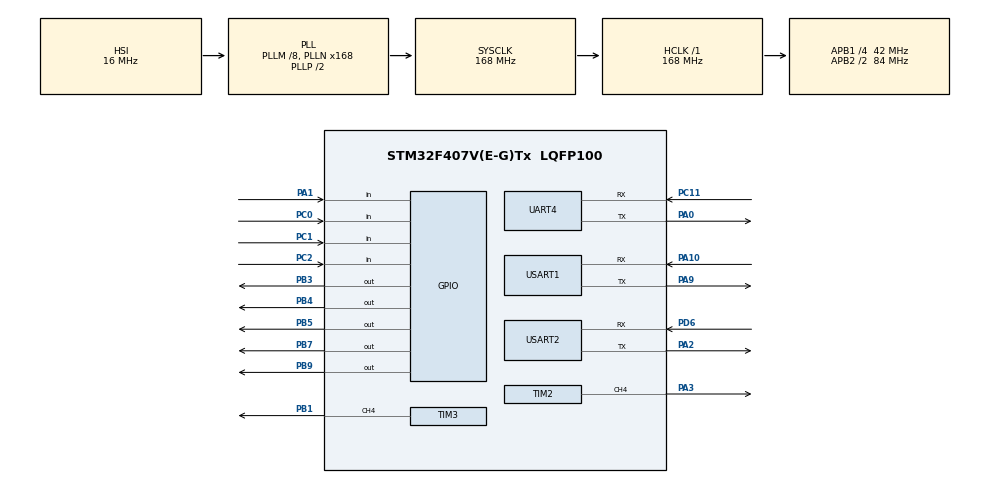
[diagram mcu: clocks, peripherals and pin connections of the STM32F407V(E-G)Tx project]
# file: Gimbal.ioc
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Dma.Request0=USART1_RX
Dma.Request1=USART1_TX
Dma.Request2=USART2_TX
Dma.Request3=USART2_RX
Dma.Request4=UART4_RX
Dma.Request5=UART4_TX
Dma.UART4_RX.4.Direction=DMA_PERIPH_TO_MEMORY
Dma.UART4_RX.4.FIFOMode=DMA_FIFOMODE_DISABLE
Dma.UART4_RX.4.Instance=DMA1_Stream2
Dma.UART4_RX.4.MemDataAlignment=DMA_MDATAALIGN_BYTE
Dma.UART4_RX.4.MemInc=DMA_MINC_ENABLE
Dma.UART4_RX.4.Mode=DMA_NORMAL
Dma.UART4_RX.4.PeriphDataAlignment=DMA_PDATAALIGN_BYTE
Dma.UART4_RX.4.PeriphInc=DMA_PINC_DISABLE
Dma.UART4_RX.4.Priority=DMA_PRIORITY_LOW
Dma.UART4_TX.5.Direction=DMA_MEMORY_TO_PERIPH
Dma.UART4_TX.5.FIFOMode=DMA_FIFOMODE_DISABLE
Dma.UART4_TX.5.Instance=DMA1_Stream4
Dma.UART4_TX.5.MemDataAlignment=DMA_MDATAALIGN_BYTE
Dma.UART4_TX.5.MemInc=DMA_MINC_ENABLE
Dma.UART4_TX.5.Mode=DMA_NORMAL
Dma.UART4_TX.5.PeriphDataAlignment=DMA_PDATAALIGN_BYTE
Dma.UART4_TX.5.PeriphInc=DMA_PINC_DISABLE
Dma.UART4_TX.5.Priority=DMA_PRIORITY_LOW
Dma.USART1_RX.0.Direction=DMA_PERIPH_TO_MEMORY
Dma.USART1_RX.0.FIFOMode=DMA_FIFOMODE_DISABLE
Dma.USART1_RX.0.Instance=DMA2_Stream2
Dma.USART1_RX.0.MemDataAlignment=DMA_MDATAALIGN_BYTE
Dma.USART1_RX.0.MemInc=DMA_MINC_ENABLE
Dma.USART1_RX.0.Mode=DMA_NORMAL
Dma.USART1_RX.0.PeriphDataAlignment=DMA_PDATAALIGN_BYTE
Dma.USART1_RX.0.PeriphInc=DMA_PINC_DISABLE
Dma.USART1_RX.0.Priority=DMA_PRIORITY_LOW
Dma.USART1_TX.1.Direction=DMA_MEMORY_TO_PERIPH
Dma.USART1_TX.1.FIFOMode=DMA_FIFOMODE_DISABLE
Dma.USART1_TX.1.Instance=DMA2_Stream7
Dma.USART1_TX.1.MemDataAlignment=DMA_MDATAALIGN_BYTE
Dma.USART1_TX.1.MemInc=DMA_MINC_ENABLE
Dma.USART1_TX.1.Mode=DMA_NORMAL
Dma.USART1_TX.1.PeriphDataAlignment=DMA_PDATAALIGN_BYTE
Dma.USART1_TX.1.PeriphInc=DMA_PINC_DISABLE
Dma.USART1_TX.1.Priority=DMA_PRIORITY_LOW
Dma.USART2_RX.3.Direction=DMA_PERIPH_TO_MEMORY
Dma.USART2_RX.3.FIFOMode=DMA_FIFOMODE_DISABLE
Dma.USART2_RX.3.Instance=DMA1_Stream5
Dma.USART2_RX.3.MemDataAlignment=DMA_MDATAALIGN_BYTE
Dma.USART2_RX.3.MemInc=DMA_MINC_ENABLE
Dma.USART2_RX.3.Mode=DMA_NORMAL
Dma.USART2_RX.3.PeriphDataAlignment=DMA_PDATAALIGN_BYTE
Dma.USART2_RX.3.PeriphInc=DMA_PINC_DISABLE
Dma.USART2_RX.3.Priority=DMA_PRIORITY_LOW
Dma.USART2_TX.2.Direction=DMA_MEMORY_TO_PERIPH
Dma.USART2_TX.2.FIFOMode=DMA_FIFOMODE_DISABLE
Dma.USART2_TX.2.Instance=DMA1_Stream6
Dma.USART2_TX.2.MemDataAlignment=DMA_MDATAALIGN_BYTE
Dma.USART2_TX.2.MemInc=DMA_MINC_ENABLE
Dma.USART2_TX.2.Mode=DMA_NORMAL
Dma.USART2_TX.2.PeriphDataAlignment=DMA_PDATAALIGN_BYTE
Dma.USART2_TX.2.PeriphInc=DMA_PINC_DISABLE
Dma.USART2_TX.2.Priority=DMA_PRIORITY_LOW
Mcu.Family=STM32F4
Mcu.Name=STM32F407V(E-G)Tx
Mcu.Package=LQFP100
NVIC.DMA1_Stream2_IRQn=true\:0\:0\:false\:false\:true\:false\:true\:true
NVIC.DMA1_Stream4_IRQn=true\:0\:0\:false\:false\:true\:false\:true\:true
NVIC.DMA1_Stream5_IRQn=true\:0\:0\:false\:false\:true\:false\:true\:true
NVIC.DMA1_Stream6_IRQn=true\:0\:0\:false\:false\:true\:false\:true\:true
NVIC.DMA2_Stream2_IRQn=true\:0\:0\:false\:false\:true\:false\:true\:true
NVIC.DMA2_Stream7_IRQn=true\:0\:0\:false\:false\:true\:false\:true\:true
NVIC.PriorityGroup=NVIC_PRIORITYGROUP_4
NVIC.TIM2_IRQn=true\:0\:0\:false\:false\:true\:true\:true\:true
NVIC.TIM3_IRQn=true\:0\:0\:false\:false\:true\:true\:true\:true
NVIC.TIM4_IRQn=true\:15\:0\:false\:false\:true\:false\:true\:true
NVIC.TimeBase=TIM4_IRQn
NVIC.TimeBaseIP=TIM4
NVIC.UART4_IRQn=true\:0\:0\:false\:false\:true\:true\:true\:true
NVIC.USART1_IRQn=true\:0\:0\:false\:false\:true\:true\:true\:true
NVIC.USART2_IRQn=true\:0\:0\:false\:false\:true\:true\:true\:true
PA0-WKUP.Mode=Asynchronous
PA0-WKUP.Signal=UART4_TX
PA1.GPIO_PuPd=GPIO_PULLUP
PA1.Signal=GPIO_Input
PA10.Mode=Asynchronous
PA10.Signal=USART1_RX
PA13.Mode=Serial_Wire
PA13.Signal=SYS_JTMS-SWDIO
PA14.Mode=Serial_Wire
PA14.Signal=SYS_JTCK-SWCLK
PA2.Mode=Asynchronous
PA2.Signal=USART2_TX
PA3.Signal=S_TIM2_CH4
PA9.Mode=Asynchronous
PA9.Signal=USART1_TX
PB1.Signal=S_TIM3_CH4
PB3.GPIO_Speed=GPIO_SPEED_FREQ_HIGH
PB3.PinState=GPIO_PIN_SET
PB3.Signal=GPIO_Output
PB4.GPIO_PuPd=GPIO_PULLDOWN
PB4.Signal=GPIO_Output
PB5.GPIO_Speed=GPIO_SPEED_FREQ_HIGH
PB5.PinState=GPIO_PIN_SET
PB5.Signal=GPIO_Output
PB7.GPIO_Speed=GPIO_SPEED_FREQ_HIGH
PB7.PinState=GPIO_PIN_SET
PB7.Signal=GPIO_Output
PB9.GPIO_ModeDefaultOutputPP=GPIO_MODE_OUTPUT_PP
PB9.GPIO_Speed=GPIO_SPEED_FREQ_HIGH
PB9.PinState=GPIO_PIN_SET
PB9.Signal=GPIO_Output
PC0.GPIO_PuPd=GPIO_PULLUP
PC0.Signal=GPIO_Input
PC1.GPIO_PuPd=GPIO_PULLUP
PC1.Signal=GPIO_Input
PC11.Mode=Asynchronous
PC11.Signal=UART4_RX
PC2.GPIO_PuPd=GPIO_PULLUP
PC2.Signal=GPIO_Input
PD6.Mode=Asynchronous
PD6.Signal=USART2_RX
PH0-OSC_IN.Mode=HSE-External-Oscillator
PH0-OSC_IN.Signal=RCC_OSC_IN
PH1-OSC_OUT.Mode=HSE-External-Oscillator
PH1-OSC_OUT.Signal=RCC_OSC_OUT
ProjectManager.HeapSize=0x200
ProjectManager.StackSize=0x400
ProjectManager.TargetToolchain=MDK-ARM V5.32
RCC.48MHZClocksFreq_Value=84000000
RCC.AHBFreq_Value=168000000
RCC.APB1CLKDivider=RCC_HCLK_DIV4
RCC.APB1Freq_Value=42000000
RCC.APB1TimFreq_Value=84000000
RCC.APB2CLKDivider=RCC_HCLK_DIV2
RCC.APB2Freq_Value=84000000
RCC.APB2TimFreq_Value=168000000
RCC.CortexFreq_Value=168000000
RCC.HCLKFreq_Value=168000000
RCC.HSE_VALUE=25000000
RCC.HSI_VALUE=16000000
RCC.LSE_VALUE=32768
RCC.PLLM=8
RCC.PLLN=168
RCC.SYSCLKFreq_VALUE=168000000
RCC.SYSCLKSource=RCC_SYSCLKSOURCE_PLLCLK
RCC.VCOOutputFreq_Value=336000000
SH.S_TIM2_CH4.0=TIM2_CH4,PWM Generation4 CH4
SH.S_TIM3_CH4.0=TIM3_CH4,PWM Generation4 CH4
TIM2.Channel-PWM\ Generation4\ CH4=TIM_CHANNEL_4
TIM2.Period=999
TIM2.Prescaler=167
TIM2.Pulse-PWM\ Generation4\ CH4=500
TIM3.Channel-PWM\ Generation4\ CH4=TIM_CHANNEL_4
TIM3.Period=999
TIM3.Prescaler=167
TIM3.Pulse-PWM\ Generation4\ CH4=500
UART4.VirtualMode=Asynchronous
USART1.VirtualMode=VM_ASYNC
USART2.VirtualMode=VM_ASYNC
VP_SYS_VS_tim4.Mode=TIM4
VP_TIM2_VS_ClockSourceINT.Mode=Internal
VP_TIM3_VS_ClockSourceINT.Mode=Internal
board=custom

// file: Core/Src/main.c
/* USER CODE BEGIN Header */
/**
  ******************************************************************************
  * @file           : main.c
  * @brief          : Main program body
  ******************************************************************************
  * @attention
  *
  * Copyright (c) 2025 STMicroelectronics.
  * All rights reserved.
  *
  * This software is licensed under terms that can be found in the LICENSE file
  * in the root directory of this software component.
  * If no LICENSE file comes with this software, it is provided AS-IS.
  *
  ******************************************************************************
  */
/* USER CODE END Header */
#include "main.h"

/* USER CODE BEGIN Includes */
#include "global.h"
#include "FreeRTOSConfig.h"
#include "FreeRTOS.h"
#include "task.h"
#include "semphr.h"
#include <stdio.h>
#include "math.h"
#include <stdarg.h>
#include <string.h>
#include "filter.h"
#include "servo.h"
#include "oled.h"
#include "usart.h"
#include "mpu6050.h"
#include "imu.h"
#include "motor.h"
#include "pid.h"
#include "mutex_lock_and_message_queue.h"
#include "data_protocol.h"
#include "eletube.h"
#include "timer.h"
#include <stdbool.h>
#include "keys.h"
#include "draw.h"

/* USER CODE END Includes */

TIM_HandleTypeDef htim2;
TIM_HandleTypeDef htim3;

UART_HandleTypeDef huart4;
UART_HandleTypeDef huart1;
UART_HandleTypeDef huart2;
DMA_HandleTypeDef hdma_uart4_rx;
DMA_HandleTypeDef hdma_uart4_tx;
DMA_HandleTypeDef hdma_usart1_rx;
DMA_HandleTypeDef hdma_usart1_tx;
DMA_HandleTypeDef hdma_usart2_tx;
DMA_HandleTypeDef hdma_usart2_rx;

/* USER CODE BEGIN PV */
CustomMutex_t robot_state_mutex = {
    .locked = 0,
    .owner = NULL,
    .name = "robot_state_mutex",
    .lock_count = 0
};

// 定义导航指令消息队列（缓冲区大小为5个消息）
NavCmd_t nav_queue_buffer[NAV_QUEUE_SIZE];  // 消息缓冲区
CustomQueue_t nav_cmd_queue;                // 导航指令队列实例
/* USER CODE END PV */

void SystemClock_Config(void);
static void MX_GPIO_Init(void);
static void MX_DMA_Init(void);
static void MX_TIM2_Init(void);
static void MX_TIM3_Init(void);
static void MX_USART1_UART_Init(void);
static void MX_USART2_UART_Init(void);
static void MX_UART4_Init(void);

/* USER CODE BEGIN 0 */
TaskHandle_t  led1_TaskHandle_t;
TaskHandle_t  led2_TaskHandle_t;
TaskHandle_t  filter_TaskHandle_t;
TaskHandle_t  servo_TaskHandle_t;
TaskHandle_t  oled_TaskHandle_t;
TaskHandle_t  usart_TaskHandle_t;
TaskHandle_t  mpu6050_TaskHandle_t;
TaskHandle_t  motor_TaskHandle_t;
TaskHandle_t  decision_TaskHandle_t;
TaskHandle_t  state_update_TaskHandle_t;
TaskHandle_t  openmv_TaskHandle_t;
TaskHandle_t  eletube_TaskHandle_t;
TaskHandle_t  debug_send_TaskHandle_t;
TaskHandle_t  draw_TaskHandle_t;

void draw_task(void){
	while(1){
//			DrawSin();

	vTaskDelay(10);
	}
}

void usart_task(void){
	while (1){
			if(!keyflag){
				key1();
				key2();
				key3();
				key4();
			}
			vTaskDelay(10);
  }
}

int position;
int task1_cnt = 0;
uint8_t task1_path_cnt = 0;
volatile uint8_t task1_flag = 0;
Point2D_t start,end;
Angles_t path[INTERPOLATION_STEPS];

float test_angle = 30;
uint8_t path_cmd = 3;

uint8_t motor_enable = 0;
void motor_task(void) {
    while(1) {
//				my_move_steps(&motor_x,1000,0x00,2000);
				if(move_status==0){//找到靶心，然后射击
					if(pre_move_status!=move_status){
							pre_move_status = move_status;
							//HAL_TIM_PWM_Stop_IT(motor_x.timer, motor_x.timer_channel);
							StepperMotor_Stop(&motor_x);
							motor_x.is_moving = 0;

					}
					if(offset_x!=0||offset_y!=0){
							PID_motors(offset_x,offset_y);

					}
					else{
//								HAL_TIM_PWM_Stop_IT(motor_x.timer, motor_x.timer_channel);
								StepperMotor_Stop(&motor_x);
								motor_x.is_moving = 0;
								enable_laser(1);
								move_status = 255;
					}
				}else if(move_status==1){//顺时针旋转
						enable_laser(0);
						pre_move_status = move_status;
						my_move_steps(&motor_x,1000,0x00,1000);
				}else if(move_status==2){//保持在中心不变
						//todo ti板子发送结束变量，然后给树莓派发送6代表结束
						if(pre_move_status != move_status){
							pre_move_status = move_status;
//							HAL_TIM_PWM_Stop_IT(motor_x.timer, motor_x.timer_channel);
							StepperMotor_Stop(&motor_x);
							motor_x.is_moving = 0;
						}
						enable_laser(1);
						PID_motors2(offset_x,offset_y);
//						uint8_t point=5;
//						openmv_send_command(&point,1);
				}else if(move_status==3){//移动不画激光
						enable_laser(0);
						if(pre_move_status != move_status){
							pre_move_status = move_status;
//							HAL_TIM_PWM_Stop_IT(motor_x.timer, motor_x.timer_channel);
							StepperMotor_Stop(&motor_x);
							motor_x.is_moving = 0;
						}
						PID_motors2(offset_x,offset_y);
				}else if(move_status==4){//移动画激光
						enable_laser(1);
						if(pre_move_status != move_status){
							pre_move_status = move_status;
//							HAL_TIM_PWM_Stop_IT(motor_x.timer, motor_x.timer_channel);
							StepperMotor_Stop(&motor_x);
							motor_x.is_moving = 0;
						}
						PID_motors2(offset_x,offset_y);
				}
				vTaskDelay(10);
    }

}

void decision_task(void) {
    while(1) {
//				if(keyflag && (HAL_GPIO_ReadPin(GPIOA,GPIO_PIN_1)==GPIO_PIN_SET)){
//						vTaskDelay(100);
//						if(HAL_GPIO_ReadPin(GPIOA,GPIO_PIN_1)==GPIO_PIN_SET){
//										if(task1_cnt==5){
//												task1_cnt=0;
//										}
//										while(task1_cnt!=5){
//											if(!motor_x.is_moving&&!motor_y.is_moving&&!task1_flag){
//													task1_path_cnt = 0;
//													if(task1_cnt==0){
//													start.x = target_x[4];
//													start.y = target_y[4];
//													end.x = target_x[0];
//													end.y = target_y[0];
//													generate_linear_path(start,end,path);
//													}else{
//															start.x = target_x[task1_cnt-1];
//															start.y = target_y[task1_cnt-1];
//															end.x = target_x[task1_cnt];
//															end.y = target_y[task1_cnt];
//															generate_linear_path(start,end,path);
//													}
//													task1_cnt++;
//													task1_flag = 1;
//											}
//											vTaskDelay(10);
//									}
//						}
//				}
//				else if(keyflag && (HAL_GPIO_ReadPin(GPIOC,GPIO_PIN_1)==GPIO_PIN_SET)){
//						vTaskDelay(100);
//						if(HAL_GPIO_ReadPin(GPIOC,GPIO_PIN_1)==GPIO_PIN_SET){
//								Reset_Gimbal();
//						}
//				}
//

				vTaskDelay(10);
    }

}
/* USER CODE END 0 */

int main(void)
{

  /* MCU Configuration--------------------------------------------------------*/

  /* Reset of all peripherals, Initializes the Flash interface and the Systick. */
  HAL_Init();

  /* Configure the system clock */
  SystemClock_Config();

  /* Initialize all configured peripherals */
  MX_GPIO_Init();
  MX_DMA_Init();
  MX_TIM2_Init();
  MX_TIM3_Init();
  MX_USART1_UART_Init();
  MX_USART2_UART_Init();
  MX_UART4_Init();
  /* USER CODE BEGIN 2 */

	uart_init();
	HAL_Delay(100);
	Set_Home_Position_Y(0x01,1);
//	enable_laser(1);
	xTaskCreate((TaskFunction_t )decision_task,
					(const char*    )"decision_task",
					(uint16_t       )256,
					(void*          )NULL,
					(UBaseType_t    )2,
					(TaskHandle_t*  )&decision_TaskHandle_t);
	xTaskCreate((TaskFunction_t )usart_task,
					(const char*    )"usart_task",
					(uint16_t       )128,
					(void*          )NULL,
					(UBaseType_t    )1,
					(TaskHandle_t*  )&usart_TaskHandle_t);
	xTaskCreate((TaskFunction_t )motor_task,
					(const char*    )"motor_task",
					(uint16_t       )256,
					(void*          )NULL,
					(UBaseType_t    )3,
					(TaskHandle_t*  )&motor_TaskHandle_t);
	xTaskCreate((TaskFunction_t )draw_task,
					(const char*    )"draw_task",
					(uint16_t       )128,
					(void*          )NULL,
					(UBaseType_t    )3,
					(TaskHandle_t*  )&draw_TaskHandle_t);

	vTaskStartScheduler();
  /* USER CODE END 2 */

  /* Infinite loop */
  while (1)
  {

  }
}

void SystemClock_Config(void)
{
  RCC_OscInitTypeDef RCC_OscInitStruct = {0};
  RCC_ClkInitTypeDef RCC_ClkInitStruct = {0};

  /** Configure the main internal regulator output voltage
  */
  __HAL_RCC_PWR_CLK_ENABLE();
  __HAL_PWR_VOLTAGESCALING_CONFIG(PWR_REGULATOR_VOLTAGE_SCALE1);

  /** Initializes the RCC Oscillators according to the specified parameters
  * in the RCC_OscInitTypeDef structure.
  */
  RCC_OscInitStruct.OscillatorType = RCC_OSCILLATORTYPE_HSI;
  RCC_OscInitStruct.HSIState = RCC_HSI_ON;
  RCC_OscInitStruct.HSICalibrationValue = RCC_HSICALIBRATION_DEFAULT;
  RCC_OscInitStruct.PLL.PLLState = RCC_PLL_ON;
  RCC_OscInitStruct.PLL.PLLSource = RCC_PLLSOURCE_HSI;
  RCC_OscInitStruct.PLL.PLLM = 8;
  RCC_OscInitStruct.PLL.PLLN = 168;
  RCC_OscInitStruct.PLL.PLLP = RCC_PLLP_DIV2;
  RCC_OscInitStruct.PLL.PLLQ = 4;
  if (HAL_RCC_OscConfig(&RCC_OscInitStruct) != HAL_OK)
  {
    Error_Handler();
  }

  /** Initializes the CPU, AHB and APB buses clocks
  */
  RCC_ClkInitStruct.ClockType = RCC_CLOCKTYPE_HCLK|RCC_CLOCKTYPE_SYSCLK
                              |RCC_CLOCKTYPE_PCLK1|RCC_CLOCKTYPE_PCLK2;
  RCC_ClkInitStruct.SYSCLKSource = RCC_SYSCLKSOURCE_PLLCLK;
  RCC_ClkInitStruct.AHBCLKDivider = RCC_SYSCLK_DIV1;
  RCC_ClkInitStruct.APB1CLKDivider = RCC_HCLK_DIV4;
  RCC_ClkInitStruct.APB2CLKDivider = RCC_HCLK_DIV2;

  if (HAL_RCC_ClockConfig(&RCC_ClkInitStruct, FLASH_LATENCY_5) != HAL_OK)
  {
    Error_Handler();
  }
}

static void MX_TIM2_Init(void)
{

  TIM_ClockConfigTypeDef sClockSourceConfig = {0};
  TIM_MasterConfigTypeDef sMasterConfig = {0};
  TIM_OC_InitTypeDef sConfigOC = {0};

  htim2.Instance = TIM2;
  htim2.Init.Prescaler = 167;
  htim2.Init.CounterMode = TIM_COUNTERMODE_UP;
  htim2.Init.Period = 999;
  htim2.Init.ClockDivision = TIM_CLOCKDIVISION_DIV1;
  htim2.Init.AutoReloadPreload = TIM_AUTORELOAD_PRELOAD_DISABLE;
  if (HAL_TIM_Base_Init(&htim2) != HAL_OK)
  {
    Error_Handler();
  }
  sClockSourceConfig.ClockSource = TIM_CLOCKSOURCE_INTERNAL;
  if (HAL_TIM_ConfigClockSource(&htim2, &sClockSourceConfig) != HAL_OK)
  {
    Error_Handler();
  }
  if (HAL_TIM_PWM_Init(&htim2) != HAL_OK)
  {
    Error_Handler();
  }
  sMasterConfig.MasterOutputTrigger = TIM_TRGO_RESET;
  sMasterConfig.MasterSlaveMode = TIM_MASTERSLAVEMODE_DISABLE;
  if (HAL_TIMEx_MasterConfigSynchronization(&htim2, &sMasterConfig) != HAL_OK)
  {
    Error_Handler();
  }
  sConfigOC.OCMode = TIM_OCMODE_PWM1;
  sConfigOC.Pulse = 500;
  sConfigOC.OCPolarity = TIM_OCPOLARITY_HIGH;
  sConfigOC.OCFastMode = TIM_OCFAST_DISABLE;
  if (HAL_TIM_PWM_ConfigChannel(&htim2, &sConfigOC, TIM_CHANNEL_4) != HAL_OK)
  {
    Error_Handler();
  }
  HAL_TIM_MspPostInit(&htim2);

}

static void MX_TIM3_Init(void)
{

  TIM_ClockConfigTypeDef sClockSourceConfig = {0};
  TIM_MasterConfigTypeDef sMasterConfig = {0};
  TIM_OC_InitTypeDef sConfigOC = {0};

  htim3.Instance = TIM3;
  htim3.Init.Prescaler = 167;
  htim3.Init.CounterMode = TIM_COUNTERMODE_UP;
  htim3.Init.Period = 999;
  htim3.Init.ClockDivision = TIM_CLOCKDIVISION_DIV1;
  htim3.Init.AutoReloadPreload = TIM_AUTORELOAD_PRELOAD_DISABLE;
  if (HAL_TIM_Base_Init(&htim3) != HAL_OK)
  {
    Error_Handler();
  }
  sClockSourceConfig.ClockSource = TIM_CLOCKSOURCE_INTERNAL;
  if (HAL_TIM_ConfigClockSource(&htim3, &sClockSourceConfig) != HAL_OK)
  {
    Error_Handler();
  }
  if (HAL_TIM_PWM_Init(&htim3) != HAL_OK)
  {
    Error_Handler();
  }
  sMasterConfig.MasterOutputTrigger = TIM_TRGO_RESET;
  sMasterConfig.MasterSlaveMode = TIM_MASTERSLAVEMODE_DISABLE;
  if (HAL_TIMEx_MasterConfigSynchronization(&htim3, &sMasterConfig) != HAL_OK)
  {
    Error_Handler();
  }
  sConfigOC.OCMode = TIM_OCMODE_PWM1;
  sConfigOC.Pulse = 500;
  sConfigOC.OCPolarity = TIM_OCPOLARITY_HIGH;
  sConfigOC.OCFastMode = TIM_OCFAST_DISABLE;
  if (HAL_TIM_PWM_ConfigChannel(&htim3, &sConfigOC, TIM_CHANNEL_4) != HAL_OK)
  {
    Error_Handler();
  }
  HAL_TIM_MspPostInit(&htim3);

}

static void MX_UART4_Init(void)
{

  huart4.Instance = UART4;
  huart4.Init.BaudRate = 115200;
  huart4.Init.WordLength = UART_WORDLENGTH_8B;
  huart4.Init.StopBits = UART_STOPBITS_1;
  huart4.Init.Parity = UART_PARITY_NONE;
  huart4.Init.Mode = UART_MODE_TX_RX;
  huart4.Init.HwFlowCtl = UART_HWCONTROL_NONE;
  huart4.Init.OverSampling = UART_OVERSAMPLING_16;
  if (HAL_UART_Init(&huart4) != HAL_OK)
  {
    Error_Handler();
  }

}

static void MX_USART1_UART_Init(void)
{

  huart1.Instance = USART1;
  huart1.Init.BaudRate = 115200;
  huart1.Init.WordLength = UART_WORDLENGTH_8B;
  huart1.Init.StopBits = UART_STOPBITS_1;
  huart1.Init.Parity = UART_PARITY_NONE;
  huart1.Init.Mode = UART_MODE_TX_RX;
  huart1.Init.HwFlowCtl = UART_HWCONTROL_NONE;
  huart1.Init.OverSampling = UART_OVERSAMPLING_16;
  if (HAL_UART_Init(&huart1) != HAL_OK)
  {
    Error_Handler();
  }

}

static void MX_USART2_UART_Init(void)
{

  huart2.Instance = USART2;
  huart2.Init.BaudRate = 115200;
  huart2.Init.WordLength = UART_WORDLENGTH_8B;
  huart2.Init.StopBits = UART_STOPBITS_1;
  huart2.Init.Parity = UART_PARITY_NONE;
  huart2.Init.Mode = UART_MODE_TX_RX;
  huart2.Init.HwFlowCtl = UART_HWCONTROL_NONE;
  huart2.Init.OverSampling = UART_OVERSAMPLING_16;
  if (HAL_UART_Init(&huart2) != HAL_OK)
  {
    Error_Handler();
  }

}

static void MX_DMA_Init(void)
{

  /* DMA controller clock enable */
  __HAL_RCC_DMA2_CLK_ENABLE();
  __HAL_RCC_DMA1_CLK_ENABLE();

  /* DMA interrupt init */
  /* DMA1_Stream2_IRQn interrupt configuration */
  HAL_NVIC_SetPriority(DMA1_Stream2_IRQn, 0, 0);
  HAL_NVIC_EnableIRQ(DMA1_Stream2_IRQn);
  /* DMA1_Stream4_IRQn interrupt configuration */
  HAL_NVIC_SetPriority(DMA1_Stream4_IRQn, 0, 0);
  HAL_NVIC_EnableIRQ(DMA1_Stream4_IRQn);
  /* DMA1_Stream5_IRQn interrupt configuration */
  HAL_NVIC_SetPriority(DMA1_Stream5_IRQn, 0, 0);
  HAL_NVIC_EnableIRQ(DMA1_Stream5_IRQn);
  /* DMA1_Stream6_IRQn interrupt configuration */
  HAL_NVIC_SetPriority(DMA1_Stream6_IRQn, 0, 0);
  HAL_NVIC_EnableIRQ(DMA1_Stream6_IRQn);
  /* DMA2_Stream2_IRQn interrupt configuration */
  HAL_NVIC_SetPriority(DMA2_Stream2_IRQn, 0, 0);
  HAL_NVIC_EnableIRQ(DMA2_Stream2_IRQn);
  /* DMA2_Stream7_IRQn interrupt configuration */
  HAL_NVIC_SetPriority(DMA2_Stream7_IRQn, 0, 0);
  HAL_NVIC_EnableIRQ(DMA2_Stream7_IRQn);

}

static void MX_GPIO_Init(void)
{
  GPIO_InitTypeDef GPIO_InitStruct = {0};

  /* GPIO Ports Clock Enable */
  __HAL_RCC_GPIOH_CLK_ENABLE();
  __HAL_RCC_GPIOC_CLK_ENABLE();
  __HAL_RCC_GPIOA_CLK_ENABLE();
  __HAL_RCC_GPIOB_CLK_ENABLE();
  __HAL_RCC_GPIOD_CLK_ENABLE();

  /*Configure GPIO pin Output Level */
  HAL_GPIO_WritePin(GPIOB, GPIO_PIN_3|GPIO_PIN_5|GPIO_PIN_7|GPIO_PIN_9, GPIO_PIN_SET);

  /*Configure GPIO pin Output Level */
  HAL_GPIO_WritePin(GPIOB, GPIO_PIN_4, GPIO_PIN_RESET);

  /*Configure GPIO pins : PC0 PC1 PC2 */
  GPIO_InitStruct.Pin = GPIO_PIN_0|GPIO_PIN_1|GPIO_PIN_2;
  GPIO_InitStruct.Mode = GPIO_MODE_INPUT;
  GPIO_InitStruct.Pull = GPIO_PULLUP;
  HAL_GPIO_Init(GPIOC, &GPIO_InitStruct);

  /*Configure GPIO pin : PA1 */
  GPIO_InitStruct.Pin = GPIO_PIN_1;
  GPIO_InitStruct.Mode = GPIO_MODE_INPUT;
  GPIO_InitStruct.Pull = GPIO_PULLUP;
  HAL_GPIO_Init(GPIOA, &GPIO_InitStruct);

  /*Configure GPIO pins : PB3 PB5 PB7 PB9 */
  GPIO_InitStruct.Pin = GPIO_PIN_3|GPIO_PIN_5|GPIO_PIN_7|GPIO_PIN_9;
  GPIO_InitStruct.Mode = GPIO_MODE_OUTPUT_PP;
  GPIO_InitStruct.Pull = GPIO_NOPULL;
  GPIO_InitStruct.Speed = GPIO_SPEED_FREQ_HIGH;
  HAL_GPIO_Init(GPIOB, &GPIO_InitStruct);

  /*Configure GPIO pin : PB4 */
  GPIO_InitStruct.Pin = GPIO_PIN_4;
  GPIO_InitStruct.Mode = GPIO_MODE_OUTPUT_PP;
  GPIO_InitStruct.Pull = GPIO_PULLDOWN;
  GPIO_InitStruct.Speed = GPIO_SPEED_FREQ_LOW;
  HAL_GPIO_Init(GPIOB, &GPIO_InitStruct);

}

/* USER CODE BEGIN 4 */
// 堆分配失败钩子
void vApplicationMallocFailedHook(void) {
    while(1) {
        // 内存分配失败处理
    }
}

// 堆栈溢出钩子
void vApplicationStackOverflowHook(TaskHandle_t xTask, char *pcTaskName) {
    (void)xTask;
    (void)pcTaskName;
    while(1) {
        // 堆栈溢出处理
    }
}

// 空闲任务钩子
void vApplicationIdleHook(void) {
    // 可添加低功耗代码
}
/* USER CODE END 4 */

void HAL_TIM_PeriodElapsedCallback(TIM_HandleTypeDef *htim)
{
  if (htim->Instance == TIM4) {
    HAL_IncTick();
  }
  /* USER CODE BEGIN Callback 1 */
	if (htim == motor_x.timer) {
			motor_x.step_count++;
			if(motor_x.direction){
				motor_x.step_sum -= 1;
			}
			else
				motor_x.step_sum += 1;
			if (motor_x.step_count >= motor_x.step_target) {
					motor_x.is_moving = 0;
					motor_x.current_angle = motor_x.step_angle*motor_x.step_sum;
					HAL_TIM_PWM_Stop_IT(motor_x.timer, motor_x.timer_channel);
//					HAL_TIM_Base_Stop_IT(motor_x.timer);
			}
	}
		if (htim == motor_y.timer) {
			motor_y.step_count++;
			if(motor_y.direction)
				motor_y.step_sum -= 1;
			else
				motor_y.step_sum += 1;
			if (motor_y.step_count >= motor_y.step_target) {
					motor_y.is_moving = 0;
					motor_y.current_angle = motor_y.step_angle*motor_y.step_sum;
					HAL_TIM_PWM_Stop_IT(motor_y.timer, motor_y.timer_channel);
//					HAL_TIM_Base_Stop_IT(motor_y.timer);
			}
	}
  /* USER CODE END Callback 1 */
}

void Error_Handler(void)
{
  __disable_irq();
  while (1)
  {
  }
}
